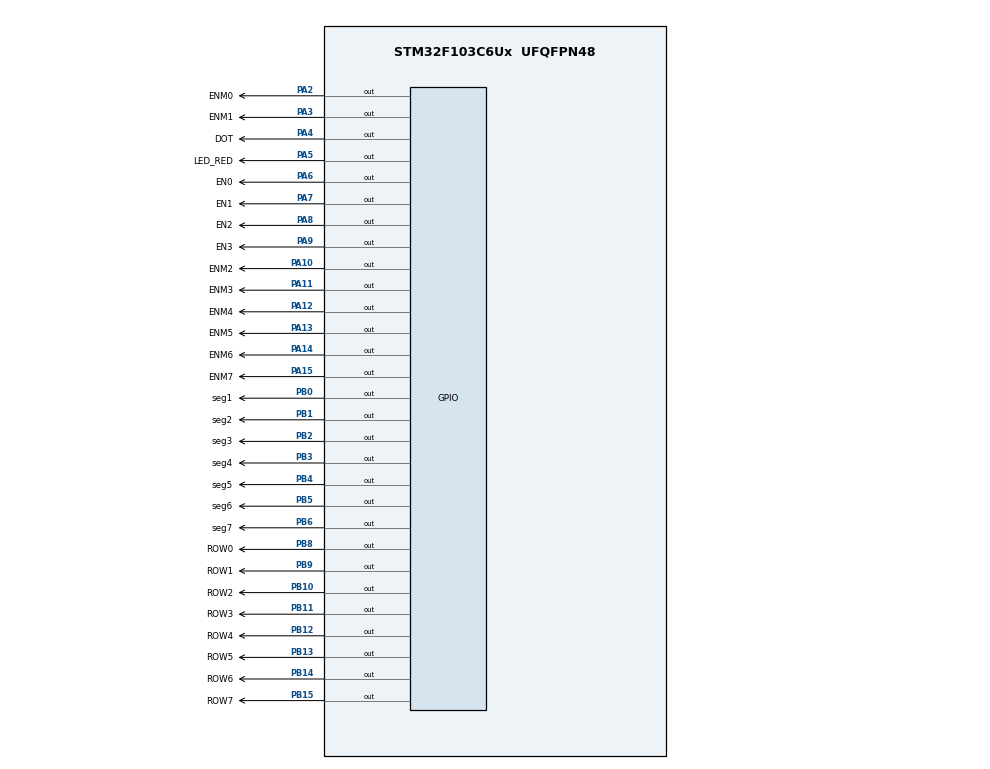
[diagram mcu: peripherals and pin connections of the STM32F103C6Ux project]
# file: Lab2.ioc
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Mcu.Family=STM32F1
Mcu.Name=STM32F103C6Ux
Mcu.Package=UFQFPN48
NVIC.PriorityGroup=NVIC_PRIORITYGROUP_4
NVIC.TIM2_IRQn=true\:0\:0\:false\:false\:true\:true\:true\:true
PA10.GPIO_Label=ENM2
PA10.Signal=GPIO_Output
PA11.GPIO_Label=ENM3
PA11.Signal=GPIO_Output
PA12.GPIO_Label=ENM4
PA12.Signal=GPIO_Output
PA13.GPIO_Label=ENM5
PA13.Signal=GPIO_Output
PA14.GPIO_Label=ENM6
PA14.Signal=GPIO_Output
PA15.GPIO_Label=ENM7
PA15.Signal=GPIO_Output
PA2.GPIO_Label=ENM0
PA2.Signal=GPIO_Output
PA3.GPIO_Label=ENM1
PA3.Signal=GPIO_Output
PA4.GPIO_Label=DOT
PA4.Signal=GPIO_Output
PA5.GPIO_Label=LED_RED
PA5.Signal=GPIO_Output
PA6.GPIO_Label=EN0
PA6.Signal=GPIO_Output
PA7.GPIO_Label=EN1
PA7.Signal=GPIO_Output
PA8.GPIO_Label=EN2
PA8.Signal=GPIO_Output
PA9.GPIO_Label=EN3
PA9.Signal=GPIO_Output
PB0.GPIO_Label=seg1
PB0.Signal=GPIO_Output
PB1.GPIO_Label=seg2
PB1.Signal=GPIO_Output
PB10.GPIO_Label=ROW2
PB10.Signal=GPIO_Output
PB11.GPIO_Label=ROW3
PB11.Signal=GPIO_Output
PB12.GPIO_Label=ROW4
PB12.Signal=GPIO_Output
PB13.GPIO_Label=ROW5
PB13.Signal=GPIO_Output
PB14.GPIO_Label=ROW6
PB14.Signal=GPIO_Output
PB15.GPIO_Label=ROW7
PB15.Signal=GPIO_Output
PB2.GPIO_Label=seg3
PB2.Signal=GPIO_Output
PB3.GPIO_Label=seg4
PB3.Signal=GPIO_Output
PB4.GPIO_Label=seg5
PB4.Signal=GPIO_Output
PB5.GPIO_Label=seg6
PB5.Signal=GPIO_Output
PB6.GPIO_Label=seg7
PB6.Signal=GPIO_Output
PB8.GPIO_Label=ROW0
PB8.Signal=GPIO_Output
PB9.GPIO_Label=ROW1
PB9.Signal=GPIO_Output
ProjectManager.HeapSize=0x200
ProjectManager.StackSize=0x400
ProjectManager.TargetToolchain=STM32CubeIDE
RCC.APB1Freq_Value=8000000
RCC.APB2Freq_Value=8000000
TIM2.Period=9
TIM2.Prescaler=7999
VP_SYS_VS_ND.Mode=No_Debug
VP_TIM2_VS_ClockSourceINT.Mode=Internal
board=custom

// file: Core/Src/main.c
/* USER CODE BEGIN Header */
/**
  ******************************************************************************
  * @file           : main.c
  * @brief          : Main program body
  ******************************************************************************
  * @attention
  *
  * Copyright (c) 2024 STMicroelectronics.
  * All rights reserved.
  *
  * This software is licensed under terms that can be found in the LICENSE file
  * in the root directory of this software component.
  * If no LICENSE file comes with this software, it is provided AS-IS.
  *
  ******************************************************************************
  */
/* USER CODE END Header */
#include "main.h"

/* USER CODE BEGIN Includes */
#include <stdlib.h>
#include "seg7.h"
#include "software_timer.h"
#include "led_matrix.h"
#include "led_matrix2.h"
/* USER CODE END Includes */

TIM_HandleTypeDef htim2;

void SystemClock_Config(void);
static void MX_GPIO_Init(void);
static void MX_TIM2_Init(void);

int main(void)
{

  /* MCU Configuration--------------------------------------------------------*/

  /* Reset of all peripherals, Initializes the Flash interface and the Systick. */
  HAL_Init();

  /* Configure the system clock */
  SystemClock_Config();

  /* Initialize all configured peripherals */
  MX_GPIO_Init();
  MX_TIM2_Init();
  /* USER CODE BEGIN 2 */
  HAL_TIM_Base_Start_IT (&htim2);
  /* USER CODE END 2 */

  /* Infinite loop */
  /* USER CODE BEGIN WHILE */
  //int count = 0;
  int index_led = 0;
  int hour = 15, minute = 8, second = 50;
  int led_buffer[4]= {hour/10, hour%10, minute/10, minute%10};
  uint8_t matrix_buffer_col[8] = {0xFE, 0xFD, 0xFB, 0xF7, 0xEF, 0xDF, 0xBF, 0x7F};
  uint8_t matrix_buffer_row[8] = {0x18, 0x3C, 0x66, 0x66, 0x7E, 0x7E, 0x66, 0x66};
  setTimer(1000,0);
  setTimer(4000,1);
  setTimer(250,2);
  while (1)
  {
	  void updateClockBuffer(){
		  led_buffer[0] = hour/10;
		  led_buffer[1] = hour%10;
		  led_buffer[2] = minute/10;
		  led_buffer[3] = minute%10;
	  }

/*void run_matrix_left(){
	for(int j = 0; j<1000; j++){
			  for(int i = 0; i<8; i++){
				 resetCol();
				 resetRow();
				updateLEDMatrix_left(i, matrix_buffer_col, matrix_buffer_row, count);
				 HAL_Delay(1);
			   }

	}
}
	  run_matrix_left();
++count;*/

	  void run_matrix(){
		  	 for(int i = 0; i<8; i++){
		  		 resetCol();
		  		 resetRow();
		  	 	 updateLEDMatrix(i, matrix_buffer_col, matrix_buffer_row);
		  	 	 HAL_Delay(1);
		  	 }
		  }
	 run_matrix();

	  //updateLEDMatrix(3, matrix_buffer_col, matrix_buffer_row);
	  //TODO
	  if(timer_flag[2]==1){
		  update7SEG(index_led, led_buffer);
		  		   index_led++;
		  		   if(index_led == 4){
		  			   index_led = 0;
		  		   }
		  		   setTimer(250,2);
	  }
	  if(timer_flag[0] == 1){
			  second ++;
			  if ( second >= 60) {
				  second = 0;
				  minute ++;
			  }
			  if( minute >= 60) {
				  minute = 0;
				  hour ++;
			  }
			  if( hour >=24){
				  hour = 0;
			  }
		   updateClockBuffer();
		   HAL_GPIO_TogglePin(DOT_GPIO_Port, DOT_Pin);
		   HAL_GPIO_TogglePin(LED_RED_GPIO_Port,LED_RED_Pin);

		   setTimer(1000,0);
		  }

  }
    /* USER CODE END WHILE */

}

void SystemClock_Config(void)
{
  RCC_OscInitTypeDef RCC_OscInitStruct = {0};
  RCC_ClkInitTypeDef RCC_ClkInitStruct = {0};

  /** Initializes the RCC Oscillators according to the specified parameters
  * in the RCC_OscInitTypeDef structure.
  */
  RCC_OscInitStruct.OscillatorType = RCC_OSCILLATORTYPE_HSI;
  RCC_OscInitStruct.HSIState = RCC_HSI_ON;
  RCC_OscInitStruct.HSICalibrationValue = RCC_HSICALIBRATION_DEFAULT;
  RCC_OscInitStruct.PLL.PLLState = RCC_PLL_NONE;
  if (HAL_RCC_OscConfig(&RCC_OscInitStruct) != HAL_OK)
  {
    Error_Handler();
  }

  /** Initializes the CPU, AHB and APB buses clocks
  */
  RCC_ClkInitStruct.ClockType = RCC_CLOCKTYPE_HCLK|RCC_CLOCKTYPE_SYSCLK
                              |RCC_CLOCKTYPE_PCLK1|RCC_CLOCKTYPE_PCLK2;
  RCC_ClkInitStruct.SYSCLKSource = RCC_SYSCLKSOURCE_HSI;
  RCC_ClkInitStruct.AHBCLKDivider = RCC_SYSCLK_DIV1;
  RCC_ClkInitStruct.APB1CLKDivider = RCC_HCLK_DIV1;
  RCC_ClkInitStruct.APB2CLKDivider = RCC_HCLK_DIV1;

  if (HAL_RCC_ClockConfig(&RCC_ClkInitStruct, FLASH_LATENCY_0) != HAL_OK)
  {
    Error_Handler();
  }
}

static void MX_TIM2_Init(void)
{

  TIM_ClockConfigTypeDef sClockSourceConfig = {0};
  TIM_MasterConfigTypeDef sMasterConfig = {0};

  htim2.Instance = TIM2;
  htim2.Init.Prescaler = 7999;
  htim2.Init.CounterMode = TIM_COUNTERMODE_UP;
  htim2.Init.Period = 9;
  htim2.Init.ClockDivision = TIM_CLOCKDIVISION_DIV1;
  htim2.Init.AutoReloadPreload = TIM_AUTORELOAD_PRELOAD_DISABLE;
  if (HAL_TIM_Base_Init(&htim2) != HAL_OK)
  {
    Error_Handler();
  }
  sClockSourceConfig.ClockSource = TIM_CLOCKSOURCE_INTERNAL;
  if (HAL_TIM_ConfigClockSource(&htim2, &sClockSourceConfig) != HAL_OK)
  {
    Error_Handler();
  }
  sMasterConfig.MasterOutputTrigger = TIM_TRGO_RESET;
  sMasterConfig.MasterSlaveMode = TIM_MASTERSLAVEMODE_DISABLE;
  if (HAL_TIMEx_MasterConfigSynchronization(&htim2, &sMasterConfig) != HAL_OK)
  {
    Error_Handler();
  }

}

static void MX_GPIO_Init(void)
{
  GPIO_InitTypeDef GPIO_InitStruct = {0};

  /* GPIO Ports Clock Enable */
  __HAL_RCC_GPIOA_CLK_ENABLE();
  __HAL_RCC_GPIOB_CLK_ENABLE();

  /*Configure GPIO pin Output Level */
  HAL_GPIO_WritePin(GPIOA, ENM0_Pin|ENM1_Pin|DOT_Pin|LED_RED_Pin
                          |EN0_Pin|EN1_Pin|EN2_Pin|EN3_Pin
                          |ENM2_Pin|ENM3_Pin|ENM4_Pin|ENM5_Pin
                          |ENM6_Pin|ENM7_Pin, GPIO_PIN_RESET);

  /*Configure GPIO pin Output Level */
  HAL_GPIO_WritePin(GPIOB, seg1_Pin|seg2_Pin|seg3_Pin|ROW2_Pin
                          |ROW3_Pin|ROW4_Pin|ROW5_Pin|ROW6_Pin
                          |ROW7_Pin|seg4_Pin|seg5_Pin|seg6_Pin
                          |seg7_Pin|ROW0_Pin|ROW1_Pin, GPIO_PIN_RESET);

  /*Configure GPIO pins : ENM0_Pin ENM1_Pin DOT_Pin LED_RED_Pin
                           EN0_Pin EN1_Pin EN2_Pin EN3_Pin
                           ENM2_Pin ENM3_Pin ENM4_Pin ENM5_Pin
                           ENM6_Pin ENM7_Pin */
  GPIO_InitStruct.Pin = ENM0_Pin|ENM1_Pin|DOT_Pin|LED_RED_Pin
                          |EN0_Pin|EN1_Pin|EN2_Pin|EN3_Pin
                          |ENM2_Pin|ENM3_Pin|ENM4_Pin|ENM5_Pin
                          |ENM6_Pin|ENM7_Pin;
  GPIO_InitStruct.Mode = GPIO_MODE_OUTPUT_PP;
  GPIO_InitStruct.Pull = GPIO_NOPULL;
  GPIO_InitStruct.Speed = GPIO_SPEED_FREQ_LOW;
  HAL_GPIO_Init(GPIOA, &GPIO_InitStruct);

  /*Configure GPIO pins : seg1_Pin seg2_Pin seg3_Pin ROW2_Pin
                           ROW3_Pin ROW4_Pin ROW5_Pin ROW6_Pin
                           ROW7_Pin seg4_Pin seg5_Pin seg6_Pin
                           seg7_Pin ROW0_Pin ROW1_Pin */
  GPIO_InitStruct.Pin = seg1_Pin|seg2_Pin|seg3_Pin|ROW2_Pin
                          |ROW3_Pin|ROW4_Pin|ROW5_Pin|ROW6_Pin
                          |ROW7_Pin|seg4_Pin|seg5_Pin|seg6_Pin
                          |seg7_Pin|ROW0_Pin|ROW1_Pin;
  GPIO_InitStruct.Mode = GPIO_MODE_OUTPUT_PP;
  GPIO_InitStruct.Pull = GPIO_NOPULL;
  GPIO_InitStruct.Speed = GPIO_SPEED_FREQ_LOW;
  HAL_GPIO_Init(GPIOB, &GPIO_InitStruct);

}

/* USER CODE BEGIN 4 */
 void HAL_TIM_PeriodElapsedCallback ( TIM_HandleTypeDef * htim )
{
	 timerRun();

}
/* USER CODE END 4 */

void Error_Handler(void)
{
  __disable_irq();
  while (1)
  {
  }
}
